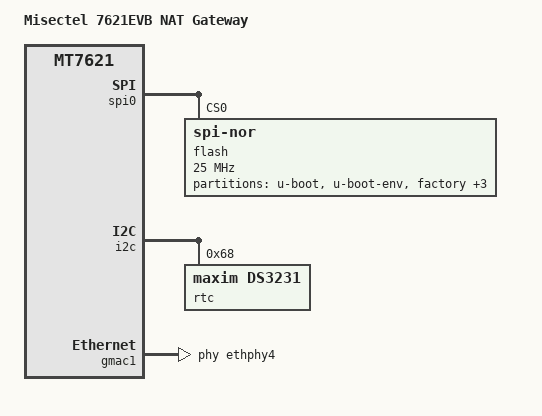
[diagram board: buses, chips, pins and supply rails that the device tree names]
// SPDX-License-Identifier: GPL-2.0-or-later OR MIT

#include "mt7621.dtsi"

/ {
	compatible = "misectel,7621evb", "mediatek,mt7621-soc";
	model = "Misectel 7621EVB NAT Gateway";

	aliases {
		label-mac-device = &gmac0;
	};

	chosen {
		bootargs = "console=ttyS0,115200";
	};
};

&spi0 {
	status = "okay";

	flash@0 {
		compatible = "jedec,spi-nor";
		reg = <0>;
		spi-max-frequency = <25000000>;

		partitions {
			compatible = "fixed-partitions";
			#address-cells = <1>;
			#size-cells = <1>;

			partition@0 {
				label = "u-boot";
				reg = <0x000000 0x030000>;
				read-only;
			};

			partition@30000 {
				label = "u-boot-env";
				reg = <0x030000 0x010000>;
			};

			factory: partition@40000 {
				label = "factory";
				reg = <0x040000 0x010000>;
				read-only;

				nvmem-layout {
					compatible = "fixed-layout";
					#address-cells = <1>;
					#size-cells = <1>;

					macaddr_factory_e000: macaddr@e000 {
						compatible = "mac-base";
						reg = <0xe000 0x6>;
						#nvmem-cell-cells = <1>;
					};
				};
			};

			partition@50000 {
				label = "woem";
				reg = <0x050000 0x010000>;
				read-only;
			};

			partition@60000 {
				label = "ledeinfo";
				reg = <0x060000 0x010000>;
			};

			partition@70000 {
				compatible = "denx,uimage";
				label = "firmware";
				reg = <0x070000 0xf90000>;
			};
		};
	};
};

&i2c {
	status = "okay";

	rtc@68 {
		compatible = "maxim,ds3231";
		reg = <0x68>;
	};
};

&gmac0 {
	nvmem-cells = <&macaddr_factory_e000 0>;
	nvmem-cell-names = "mac-address";
};

&gmac1 {
	status = "okay";
	label = "lan4";
	phy-handle = <&ethphy4>;

	nvmem-cells = <&macaddr_factory_e000 1>;
	nvmem-cell-names = "mac-address";
};

&ethphy4 {
	/delete-property/ interrupts;
};

&switch0 {
	ports {
		port@0 {
			status = "okay";
			label = "wan";
		};

		port@1 {
			status = "okay";
			label = "lan1";
		};

		port@2 {
			status = "okay";
			label = "lan2";
		};

		port@3 {
			status = "okay";
			label = "lan3";
		};
	};
};

&state_default {
	gpio {
		groups = "jtag", "uart3", "wdt";
		function = "gpio";
	};
};
